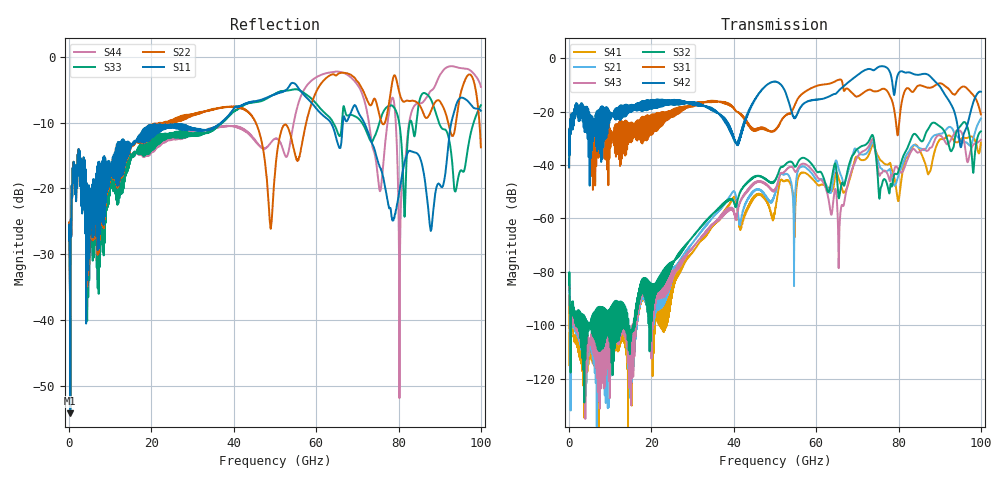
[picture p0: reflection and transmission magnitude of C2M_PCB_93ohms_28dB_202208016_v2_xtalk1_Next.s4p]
! Info: Touchstone file created by Circ.  Input file=Intel_C2M_200G_12p0in_202208016_staggered.circ
# Hz S RI R 50
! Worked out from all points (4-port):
!   10000 points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, 10 MHz to 100 GHz, reference 50 ohm
!   strongest paths, dB at 10 MHz, 25.01 GHz, 50.01 GHz, 75.01 GHz, 100 GHz:
!     S42: -40.8, -16.8, -8.7, -3.4, -12.5
!     S31: -40.9, -21.3, -27.0, -12.3, -21.1
!     S32: -84.8, -77.7, -45.7, -45.5, -27.4
!     S43: -86.1, -81.8, -49.4, -41.5, -30.5
!     S21: -86.5, -80.6, -50.5, -38.3, -22.6
!     S41: -88.8, -82.3, -57.0, -36.6, -31.6
!   lowest |S11| = -54.2 dB at 290 MHz (marker M1), VSWR 1.00, Z = 50.2 - j0.0602 ohm
!   |S11| at or under -10 dB: start of sweep to 36.93 GHz; 63.51 GHz to 66.47 GHz (2.953 GHz wide, 4.54 % of centre); 71.67 GHz to 92.82 GHz (21.15 GHz wide, 25.7 % of centre)
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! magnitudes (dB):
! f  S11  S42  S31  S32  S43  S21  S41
! 10 MHz  -27.9  -40.8  -40.9  -84.8  -86.1  -86.5  -88.8
! 290 MHz  -54.2  -22.7  -22.8  -94.0  -100.1  -100.4  -100.9
! 65.64 GHz  -13.9  -11.9  -8.0  -51.7  -64.2  -42.3  -45.8
! 73.47 GHz  -13.0  -4.2  -11.9  -28.9  -30.6  -31.7  -33.2
! 76.03 GHz  -17.6  -3.0  -11.5  -46.8  -42.8  -41.7  -38.7
! 95.19 GHz  -6.2  -33.2  -10.9  -25.0  -27.5  -31.0  -30.2
! 100 GHz  -8.2  -12.5  -21.1  -27.4  -30.5  -22.6  -31.6
